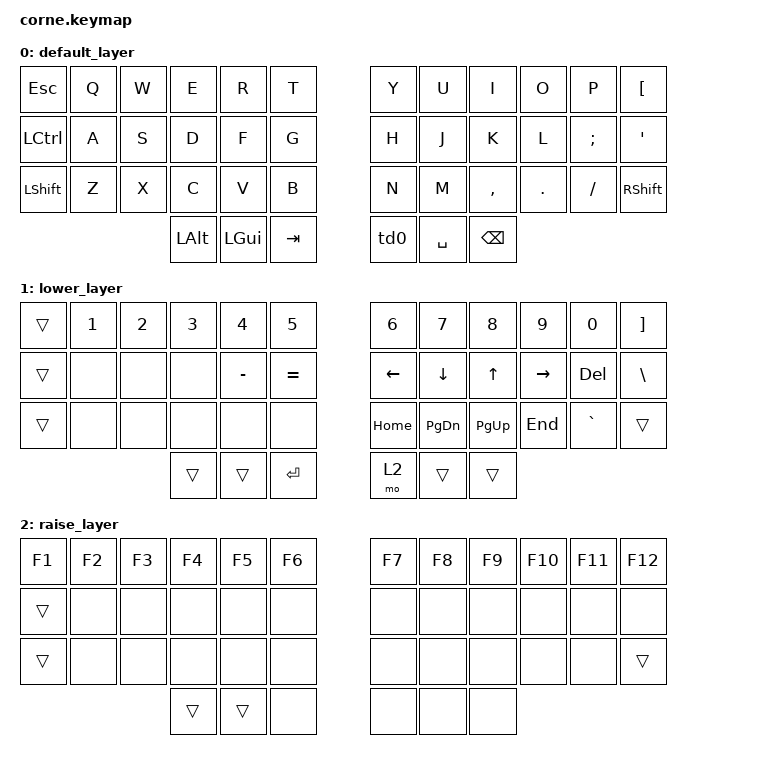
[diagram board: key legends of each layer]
/*
 * Copyright (c) 2020 The ZMK Contributors
 *
 * SPDX-License-Identifier: MIT
 */

#include <behaviors.dtsi>
#include <dt-bindings/zmk/keys.h>

/ {
    behaviors {
        td0: td0 {
            compatible = "zmk,behavior-tap-dance";
            label = "TD0";
            #binding-cells = <0>;
            bindings = <&mo 1>, <&mo 2>;
        };
    };

    keymap {
        compatible = "zmk,keymap";

        default_layer {
            // -----------------------------------------------------------------------------------------
            // |  ESC  |  Q  |  W  |  E  |  R  |  T  |   |  Y  |  U   |  I  |  O  |  P  | LBRC  |
            // | LCTRL |  A  |  S  |  D  |  F  |  G  |   |  H  |  J   |  K  |  L  |  ;  |  '    |
            // | LSHFT |  Z  |  X  |  C  |  V  |  B  |   |  N  |  M   |  ,  |  .  |  /  | RSHFT |
            //                    | LEFT_ALT | TD0 | TAB |   | MO1 | SPACE  | BACKSPACE |

            bindings = <
&kp ESCAPE  &kp Q  &kp W  &kp E         &kp R         &kp T      &kp Y  &kp U      &kp I          &kp O    &kp P     &kp LBKT
&kp LCTRL   &kp A  &kp S  &kp D         &kp F         &kp G      &kp H  &kp J      &kp K          &kp L    &kp SEMI  &kp SQT
&kp LSHFT   &kp Z  &kp X  &kp C         &kp V         &kp B      &kp N  &kp M      &kp COMMA      &kp DOT  &kp FSLH  &kp RSHFT
                          &kp LEFT_ALT  &kp LEFT_GUI  &kp TAB    &td0   &kp SPACE  &kp BACKSPACE
            >;
        };

        lower_layer {
            // -----------------------------------------------------------------------------------------
            // |      |  1  |  2  |  3  |  4  |  5  |   |  6  |  7  |  8  |  9  |  0  | BSPC |
            // |      |     |     |     |     |     |   |     | LFT |  UP | RGT |     |      |
            // |      |     |     |     |     |     |   |     |     | DWN |     |     |      |
            //                    | GUI |     | SPC |   | ENT |     | ALT |

            bindings = <
&trans  &kp N1  &kp N2  &kp N3  &kp N4     &kp N5       &kp N6    &kp N7     &kp N8     &kp N9     &kp N0     &kp RBKT
&trans  &none   &none   &none   &kp MINUS  &kp EQUAL    &kp LEFT  &kp DOWN   &kp UP     &kp RIGHT  &kp DEL    &kp BSLH
&trans  &none   &none   &none   &none      &none        &kp HOME  &kp PG_DN  &kp PG_UP  &kp END    &kp GRAVE  &trans
                        &trans  &trans     &kp ENTER    &mo 2     &trans     &trans
            >;
        };

        raise_layer {
            // -----------------------------------------------------------------------------------------
            // |  TAB |  !  |  @  |  #  |  $  |  %  |   |  ^  |  &  |  *  |  (  |  )  | BSPC |
            // | CTRL |     |     |     |     |     |   |  -  |  =  |  [  |  ]  |  \  |  `   |
            // | SHFT |     |     |     |     |     |   |  _  |  +  |  {  |  }  | "|" |  ~   |
            //                    | GUI |     | SPC |   | ENT |     | ALT |

            bindings = <
&kp F1  &kp F2  &kp F3  &kp F4  &kp F5  &kp F6    &kp F7  &kp F8  &kp F9  &kp F10  &kp F11  &kp F12
&trans  &none   &none   &none   &none   &none     &none   &none   &none   &none    &none    &none
&trans  &none   &none   &none   &none   &none     &none   &none   &none   &none    &none    &trans
                        &trans  &trans  &none     &none   &none   &none
            >;
        };
    };
};
